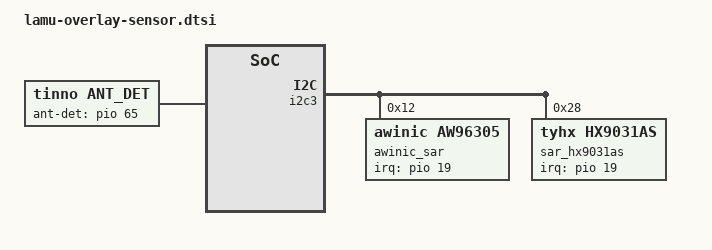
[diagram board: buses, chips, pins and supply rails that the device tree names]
/*[TN.NJDC] sensor overlay file.start*/
&i2c3 {
	status = "okay";
	awinic_sar@12 {
		compatible = "awinic,aw96305";
		reg = <0x12>;
		sar-num = < 0 >;
		interrupt-parent = < &pio >;
		interrupts = <19 0>;
		irq-gpio = <&pio 19 0>;
		//vcc0-supply = <&pm660l_l4>;
		channel_use_flag = <0x1F>;
		aw_sar,update_fw;
		aw_sar,use_plug_cail;
		/* private node belongs to aw963xx */
		start-mode = < 1 >; // 0: start in rom  1: start in ram
		irq-mux = < 2 >; // set csx as irq pin. config this field when connect to aw96308/aw96310
		status = "okay";
	};

	sar_hx9031as@28 {
		compatible = "tyhx,hx9031as";
		reg = <0x28>;
		i2c_num = <3>;
		i2c_addr = <0x28 0 0 0>;
		interrupt-parent = <&pio>;
		interrupts = <19 IRQ_TYPE_EDGE_FALLING>;
		irq-gpio = <&pio 19 0>;
		tyhx,channel-flag = <0x1F>;     //必要，每个channel对应一个input设备，每个bit对应一个channel（channel）。如0xF代表开启0，1，2，3通道
		//tyhx,power-supply-type =<1>;  //可选，如何供电，如果有的话，客户自行移植
		status = "okay";
    };
};
&odm {
    ant_det: ant_det {
		status = "okay";
		compatible = "tinno,ant_det";
		tinno,ant-det-gpio = <&pio 65 0>;
	};
};
/*[TN.NJDC] sensor overlay file.end*/
